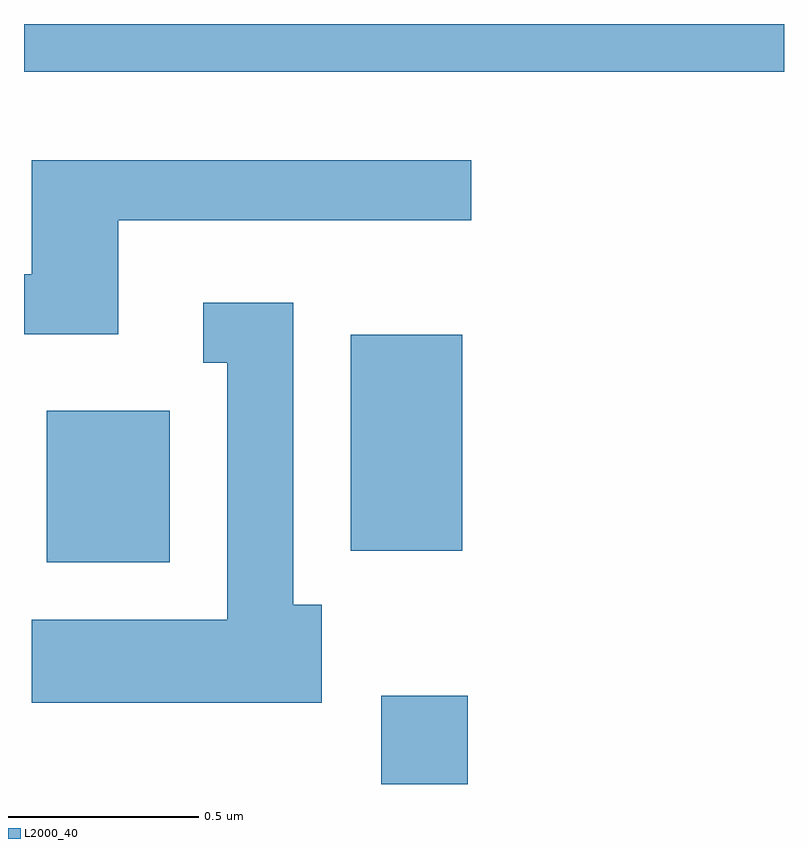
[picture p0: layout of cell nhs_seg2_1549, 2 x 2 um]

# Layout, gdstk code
import gdstk
lib = gdstk.Library(unit=1e-6, precision=1e-09)
def R(c, l, rs):  # rectangles x0, y0, x1, y1
    for r in rs: c.add(gdstk.rectangle(r[:2], r[2:], *l))
def P(c, l, *ps):  # polygons
    for p in ps: c.add(gdstk.Polygon(p, *l))
L2000_40 = (2000, 40)

nhs_seg2_1549 = lib.new_cell('nhs_seg2_1549')
R(nhs_seg2_1549, L2000_40, [(197.551,1019.802,197.779,1020.034), (196.671,1020.386,196.994,1020.784), (197.471,1020.416,197.764,1020.984), (196.611,1021.676,198.611,1021.802)])
P(nhs_seg2_1549, L2000_40, [(196.859,1021.286),(197.788,1021.286),(197.788,1021.444),(196.631,1021.444),(196.631,1021.144),(196.611,1021.144),(196.611,1020.986),(196.859,1020.986)],
  [(197.394,1020.274),(197.319,1020.274),(197.319,1021.069),(197.083,1021.069),(197.083,1020.911),(197.146,1020.911),(197.146,1020.234),(196.631,1020.234),(196.631,1020.016),(197.394,1020.016)])

lib.write_gds('nhs_seg2_1549.gds')
